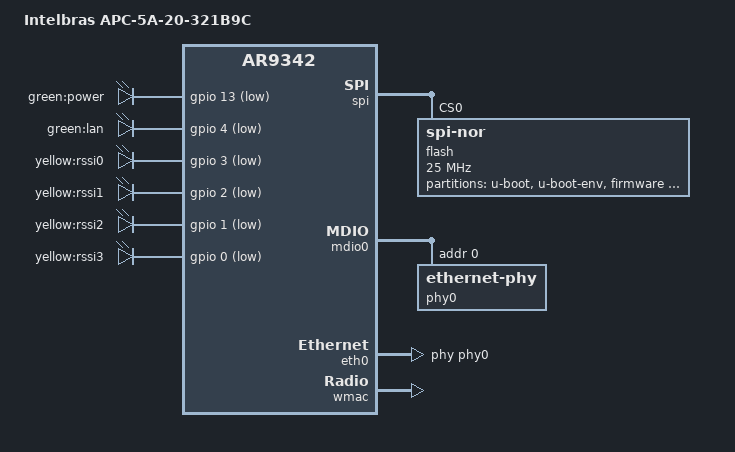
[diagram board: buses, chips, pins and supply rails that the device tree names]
// SPDX-License-Identifier: GPL-2.0-or-later OR MIT

#include "ar9344.dtsi"

#include <dt-bindings/gpio/gpio.h>
#include <dt-bindings/input/input.h>

/ {
	compatible = "intelbras,apc-5a-20-321b9c", "qca,ar9342";
	model = "Intelbras APC-5A-20-321B9C";

	aliases {
		led-boot = &power_led;
		led-failsafe = &power_led;
		led-running = &power_led;
		led-upgrade = &power_led;
	};

	leds {
		compatible = "gpio-leds";
		
		power_led: power {
			label = "green:power";
			gpios = <&gpio 13 GPIO_ACTIVE_LOW>;
			default-state = "on";
		};

		lan {
			label = "green:lan";
			gpios = <&gpio 4 GPIO_ACTIVE_LOW>;
		};

		rssi0 {
			label = "yellow:rssi0";
			gpios = <&gpio 3 GPIO_ACTIVE_LOW>;
		};

		rssi1{
			label = "yellow:rssi1";
			gpios = <&gpio 2 GPIO_ACTIVE_LOW>;
		};

		rssi2{
			label = "yellow:rssi2";
			gpios = <&gpio 1 GPIO_ACTIVE_LOW>;
		};

		rssi3{
			label = "yellow:rssi3";
			gpios = <&gpio 0 GPIO_ACTIVE_LOW>;
		};

	};
};

&spi {
	status = "okay";
    
	flash@0 {
		compatible = "jedec,spi-nor";
		reg = <0>;
		spi-max-frequency = <25000000>;

		partitions {
			compatible = "fixed-partitions";
			#address-cells = <1>;
			#size-cells = <1>;

			partition@0 {
				label = "u-boot";
				reg = <0x000000 0x030000>;
				read-only;
			};

			partition@30000 {
				label = "u-boot-env";
				reg = <0x030000 0x010000>;
				read-only;
			};

			partition@40000 {
				compatible = "denx,uimage";
				label = "firmware";
				reg = <0x040000 0xf00000>;
			};

            partition@f40000 {
				label = "data";
				reg = <0xf40000 0x090000>;
				read-only;
			};

			partition@fd0000 {
				label = "cfg";
				reg = <0xfd0000 0x020000>;
				read-only;
			};

            art: partition@ff0000 {
				label = "art";
				reg = <0xff0000 0x010000>;
				read-only;
			};
		};
	};
};

&ref {
	clock-frequency = <40000000>;
};

&mdio0 {
	status = "okay";

	phy0: ethernet-phy@0 {
		phy-mode = "mii";
		reg = <0>;

		qca,ar8327-initvals = <
			0x04 0x07600000 /* PORT0 PAD MODE CTRL */
			0x7c 0x0000007e /* PORT0_STATUS */
		>;
	};
};

&eth0 {
	status = "okay";

	nvmem-cells = <&macaddr_art_0>;
	nvmem-cell-names = "mac-address";
	phy-handle = <&phy0>;
};

&wmac {
	status = "okay";

	ieee80211-freq-limit = <4900000 5990000>;

	nvmem-cells = <&macaddr_art_1002>, <&cal_art_1000>;
	nvmem-cell-names = "mac-address-ascii", "calibration";
};

&art {
	compatible = "nvmem-cells";
	#address-cells = <1>;
	#size-cells = <1>;

	macaddr_art_0: macaddr@0 {
		reg = <0x0 0x6>;
	};

	cal_art_1000: cal@1000 {
		reg = <0x1000 0x440>;
	};

	macaddr_art_1002: macaddr@1002 {
		reg = <0x1002 0x6>;
	};

	cal_art_8000: cal@8000 {
		reg = <0x8000 0x188>;
	};
};
